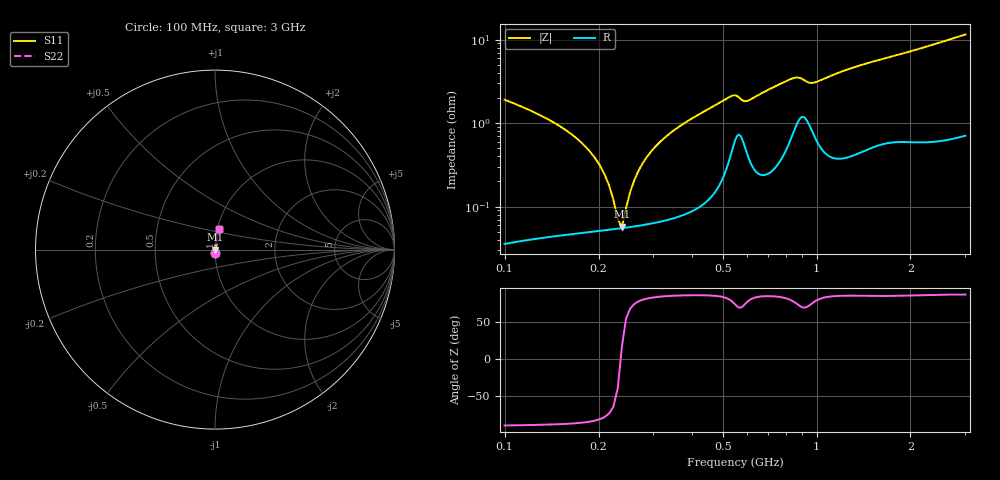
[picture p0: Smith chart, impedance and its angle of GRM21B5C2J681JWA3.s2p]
!Murata Part Number: GRM21B5C2J681JWA3
!These Parameters are Measured in Series Mode Connection
!Data Generated on Mar 30, 2021
!  o--ll--o
!Port1  Port2
!  o------o
!Operation Temp=25[degC], DC Bias Voltage=0[V]
!Freq. Start=100[MHz] Stop=3[GHz] 401[Steps]
# Hz S RI R 50
!Freq.(Hz) S11(Real) S11(Imag) S21(Real) S21(Imag) S12(Real) S12(Imag) S22(Real) S22(Imag)
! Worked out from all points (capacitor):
!   401 points, 100 MHz to 3 GHz, reference 50 ohm
!   read as one part in series: C = 685 pF near 114.5 MHz
!   lowest |Z| = 57.7 mohm at 237.8 MHz (marker M1)
!   series resonance near 235.7 MHz, so ESL is about 670 pH
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1e8  0.00072 -0.019  0.9993 0.019  0.9993 0.019  0.00072 -0.019
1.435e8  0.000543 -0.0102  0.9995 0.0102  0.9995 0.0102  0.000543 -0.0102
1.7975e8  0.000515 -0.00542  0.9995 0.00542  0.9995 0.00542  0.000515 -0.00542
2.015e8  0.00052 -0.00312  0.9995 0.00312  0.9995 0.00312  0.00052 -0.00312
2.2325e8  0.000536 -0.00108  0.9995 0.00108  0.9995 0.00108  0.000536 -0.00108
2.3775e8  0.000551 0.00017  0.9994 -0.00017  0.9994 -0.00017  0.000551 0.00017
2.45e8  0.00056 0.000768  0.9994 -0.000768  0.9994 -0.000768  0.00056 0.000768
2.6675e8  0.000592 0.00247  0.9994 -0.00247  0.9994 -0.00247  0.000592 0.00247
2.8125e8  0.000618 0.00355  0.9994 -0.00355  0.9994 -0.00355  0.000618 0.00355
3.03e8  0.000663 0.00509  0.9993 -0.00509  0.9993 -0.00509  0.000663 0.00509
3.3925e8  0.00076 0.00752  0.9992 -0.00752  0.9992 -0.00752  0.00076 0.00752
4.045e8  0.00104 0.0117  0.999 -0.0117  0.999 -0.0117  0.00104 0.0117
5.205e8  0.00363 0.0197  0.9964 -0.0197  0.9964 -0.0197  0.00363 0.0197
5.495e8  0.00673 0.0203  0.9933 -0.0203  0.9933 -0.0203  0.00673 0.0203
5.8575e8  0.00582 0.0173  0.9942 -0.0173  0.9942 -0.0173  0.00582 0.0173
8.395e8  0.00848 0.0331  0.9915 -0.0331  0.9915 -0.0331  0.00848 0.0331
9.6275e8  0.00908 0.0286  0.9909 -0.0286  0.9909 -0.0286  0.00908 0.0286
1.0715e9  0.00545 0.0343  0.9946 -0.0343  0.9946 -0.0343  0.00545 0.0343
1.55e9  0.00829 0.0549  0.9917 -0.0549  0.9917 -0.0549  0.00829 0.0549
2.03575e9  0.0112 0.0724  0.9888 -0.0724  0.9888 -0.0724  0.0112 0.0724
2.5215e9  0.0147 0.0919  0.9853 -0.0919  0.9853 -0.0919  0.0147 0.0919
3e9  0.0198 0.1122  0.9802 -0.1122  0.9802 -0.1122  0.0198 0.1122
